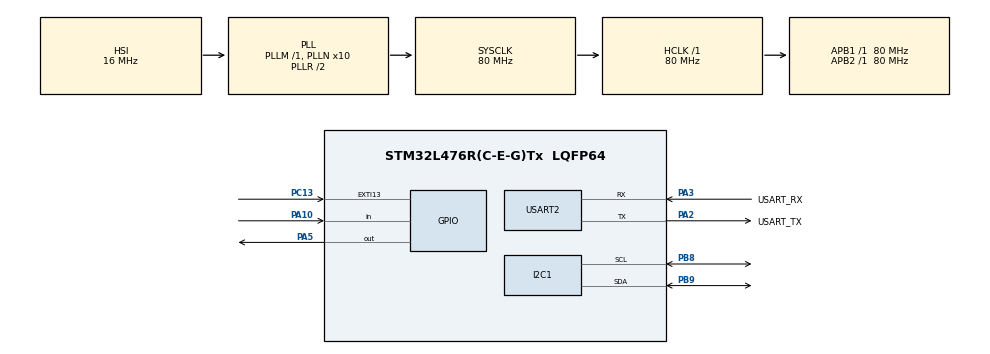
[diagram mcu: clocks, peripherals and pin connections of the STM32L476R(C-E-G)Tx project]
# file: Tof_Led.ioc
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I2C1.Timing=0x10D19CE4
Mcu.Family=STM32L4
Mcu.Name=STM32L476R(C-E-G)Tx
Mcu.Package=LQFP64
NUCLEO-L476RG.BUTTON=1
NUCLEO-L476RG.Bsp_Common_DEMO=true
NUCLEO-L476RG.LD2=true
NVIC.EXTI15_10_IRQn=true\:0\:0\:false\:false\:true\:false\:true\:true
NVIC.PriorityGroup=NVIC_PRIORITYGROUP_4
PA10.GPIO_PuPd=GPIO_PULLUP
PA10.Signal=GPIO_Input
PA13\ (JTMS-SWDIO).GPIO_Label=TMS
PA13\ (JTMS-SWDIO).Signal=SYS_JTMS-SWDIO
PA14\ (JTCK-SWCLK).GPIO_Label=TCK
PA14\ (JTCK-SWCLK).Signal=SYS_JTCK-SWCLK
PA2.GPIO_Label=USART_TX
PA2.GPIO_Mode=GPIO_MODE_AF_PP
PA2.GPIO_PuPd=GPIO_NOPULL
PA2.GPIO_Speed=GPIO_SPEED_FREQ_VERY_HIGH
PA2.Mode=Asynchronous
PA2.Signal=USART2_TX
PA3.GPIO_Label=USART_RX
PA3.GPIO_Mode=GPIO_MODE_AF_PP
PA3.GPIO_PuPd=GPIO_NOPULL
PA3.GPIO_Speed=GPIO_SPEED_FREQ_VERY_HIGH
PA3.Mode=Asynchronous
PA3.Signal=USART2_RX
PA5.Signal=GPIO_Output
PB3\ (JTDO-TRACESWO).GPIO_Label=SWO
PB3\ (JTDO-TRACESWO).Signal=SYS_JTDO-SWO
PB8.GPIO_Pu=GPIO_PULLUP
PB8.Mode=I2C
PB8.Signal=I2C1_SCL
PB9.GPIO_Pu=GPIO_PULLUP
PB9.Mode=I2C
PB9.Signal=I2C1_SDA
PC13.Signal=GPXTI13
PC14-OSC32_IN\ (PC14).Signal=RCC_OSC32_IN
PC15-OSC32_OUT\ (PC15).Signal=RCC_OSC32_OUT
PH0-OSC_IN\ (PH0).Signal=RCC_OSC_IN
PH1-OSC_OUT\ (PH1).Signal=RCC_OSC_OUT
ProjectManager.HeapSize=0x200
ProjectManager.StackSize=0x400
ProjectManager.TargetToolchain=CMake
RCC.ADCFreq_Value=64000000
RCC.AHBFreq_Value=80000000
RCC.APB1Freq_Value=80000000
RCC.APB1TimFreq_Value=80000000
RCC.APB2Freq_Value=80000000
RCC.APB2TimFreq_Value=80000000
RCC.CortexFreq_Value=80000000
RCC.HCLKFreq_Value=80000000
RCC.HSE_VALUE=8000000
RCC.HSI_VALUE=16000000
RCC.LSE_VALUE=32768
RCC.MSI_VALUE=4000000
RCC.PLLN=10
RCC.PLLSourceVirtual=RCC_PLLSOURCE_HSI
RCC.PREFETCH_ENABLE=1
RCC.SYSCLKFreq_VALUE=80000000
RCC.SYSCLKSource=RCC_SYSCLKSOURCE_PLLCLK
RCC.USBFreq_Value=64000000
RCC.VCOOutputFreq_Value=160000000
USART2.VirtualMode-Asynchronous=VM_ASYNC
VP_NUCLEO-L476RG_VS_BSP_COMMON.Mode=COMMON
board=NUCLEO-L476RG

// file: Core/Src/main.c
/* USER CODE BEGIN Header */
/**
 ******************************************************************************
 * @file           : main.c
 * @brief          : Main program body
 ******************************************************************************
 * @attention
 *
 * Copyright (c) 2026 STMicroelectronics.
 * All rights reserved.
 *
 * This software is licensed under terms that can be found in the LICENSE file
 * in the root directory of this software component.
 * If no LICENSE file comes with this software, it is provided AS-IS.
 *
 ******************************************************************************
 */
/* USER CODE END Header */
#include "main.h"
#include "i2c.h"
#include "usart.h"
#include "gpio.h"

/* USER CODE BEGIN Includes */
#include "usart.h"
#include <stdio.h>
#include <stdlib.h>
#include <sys/stat.h>
#include <string.h>

#include "apds9960.h"
#include "target.h"
/* USER CODE END Includes */

/* USER CODE BEGIN PTD */
int __io_putchar(int ch){
	HAL_UART_Transmit(&huart2, (uint8_t *)&ch, 1, HAL_MAX_DELAY);
	return ch;
}

int __io_getchar(void)
{
	uint8_t ch = 0;
	__HAL_UART_CLEAR_OREFLAG(&huart2);
	HAL_UART_Receive(&huart2, (uint8_t *)&ch, 1, HAL_MAX_DELAY);
	HAL_UART_Transmit(&huart2, (uint8_t *)&ch, 1, HAL_MAX_DELAY);
	return ch;
}
/* USER CODE END PTD */

/* USER CODE BEGIN PD */
#define APDS9960_ADDR   (0x39 << 1)
#define APDS9960_REG_ID 0x92
#define APDS9960_EXPECTED_ID 0xAB

#define REG_ENABLE       0x80
#define REG_PPULSE       0x8E
#define REG_CONTROL      0x8F
#define REG_STATUS       0x93
#define REG_PDATA        0x9C

#define FAKE_PROFILE 1   /* 1 = faux profil (test sans ToF), 0 = désactivé */
/* USER CODE END PD */

/* Button state */
#define BUTTON_RELEASED                    0U
#define BUTTON_PRESSED                     1U

__IO uint32_t BspButtonState = BUTTON_RELEASED;

/* USER CODE BEGIN PV */
static apds9960_t apds;
static target_t   target;
/* USER CODE END PV */

void SystemClock_Config(void);

int main(void)
{

	/* MCU Configuration--------------------------------------------------------*/

	/* Reset of all peripherals, Initializes the Flash interface and the Systick. */
	HAL_Init();

	/* Configure the system clock */
	SystemClock_Config();

	/* Initialize all configured peripherals */
	MX_GPIO_Init();
	MX_I2C1_Init();
	MX_USART2_UART_Init();

	/* USER CODE BEGIN 2 */
	if (!apds9960_init(&apds, &hi2c1)) {
		printf("APDS-9960 introuvable (I2C / cablage)\r\n");
		Error_Handler();
	}
	target_init(&target);
	printf("APDS-9960 OK\r\n");
	/* USER CODE END 2 */

	/* Initialize leds */
	BSP_LED_Init(LED_GREEN);

	/* Initialize USER push-button, will be used to trigger an interrupt each time it's pressed.*/
	BSP_PB_Init(BUTTON_USER, BUTTON_MODE_EXTI);

	/* USER CODE BEGIN BSP */

	/* -- Sample board code to switch on leds ---- */
	BSP_LED_On(LED_GREEN);

	/* USER CODE END BSP */

	/* Infinite loop */
	while (1)
	{

		/* USER CODE BEGIN 3 */
		static uint32_t        last_print = 0U;
		static uint8_t         pdata = 0U;
		static apds9960_rgbc_t c;

#if FAKE_PROFILE
		/* Canette simulée centrée à 45 mm : déclenche la mesure de couleur */
		static const uint16_t fake[8] = {600, 600, 60, 45, 45, 60, 600, 600};
		target_on_profile(&target, fake, 8);
#endif

		if (BspButtonState == BUTTON_PRESSED) {      /* bouton bleu : nouvelle mesure */
			BspButtonState = BUTTON_RELEASED;
			target_reset(&target);
			printf("--- reset ---\r\n");
		}

		(void)apds9960_read_proximity(&apds, &pdata);
		if (apds9960_read_rgbc(&apds, &c)) {
			target_on_color(&target, c.clear, c.red, c.green);
		}

		if ((HAL_GetTick() - last_print) >= 200U) {
			last_print = HAL_GetTick();
			printf("PDATA=%3u | C=%5u R=%5u G=%5u B=%5u | inst=%c | st=%d obstacle_color=%c\r\n",
					pdata, c.clear, c.red, c.green, c.blue,
					color_classify(c.clear, c.red, c.green),
					(int)target.state,
					target.obstacle_color ? target.obstacle_color : '-');
		}
	}
	/* USER CODE END 3 */
}

void SystemClock_Config(void)
{
	RCC_OscInitTypeDef RCC_OscInitStruct = {0};
	RCC_ClkInitTypeDef RCC_ClkInitStruct = {0};

	/** Configure the main internal regulator output voltage
	 */
	if (HAL_PWREx_ControlVoltageScaling(PWR_REGULATOR_VOLTAGE_SCALE1) != HAL_OK)
	{
		Error_Handler();
	}

	/** Initializes the RCC Oscillators according to the specified parameters
	 * in the RCC_OscInitTypeDef structure.
	 */
	RCC_OscInitStruct.OscillatorType = RCC_OSCILLATORTYPE_HSI;
	RCC_OscInitStruct.HSIState = RCC_HSI_ON;
	RCC_OscInitStruct.HSICalibrationValue = RCC_HSICALIBRATION_DEFAULT;
	RCC_OscInitStruct.PLL.PLLState = RCC_PLL_ON;
	RCC_OscInitStruct.PLL.PLLSource = RCC_PLLSOURCE_HSI;
	RCC_OscInitStruct.PLL.PLLM = 1;
	RCC_OscInitStruct.PLL.PLLN = 10;
	RCC_OscInitStruct.PLL.PLLP = RCC_PLLP_DIV7;
	RCC_OscInitStruct.PLL.PLLQ = RCC_PLLQ_DIV2;
	RCC_OscInitStruct.PLL.PLLR = RCC_PLLR_DIV2;
	if (HAL_RCC_OscConfig(&RCC_OscInitStruct) != HAL_OK)
	{
		Error_Handler();
	}

	/** Initializes the CPU, AHB and APB buses clocks
	 */
	RCC_ClkInitStruct.ClockType = RCC_CLOCKTYPE_HCLK|RCC_CLOCKTYPE_SYSCLK
			|RCC_CLOCKTYPE_PCLK1|RCC_CLOCKTYPE_PCLK2;
	RCC_ClkInitStruct.SYSCLKSource = RCC_SYSCLKSOURCE_PLLCLK;
	RCC_ClkInitStruct.AHBCLKDivider = RCC_SYSCLK_DIV1;
	RCC_ClkInitStruct.APB1CLKDivider = RCC_HCLK_DIV1;
	RCC_ClkInitStruct.APB2CLKDivider = RCC_HCLK_DIV1;

	if (HAL_RCC_ClockConfig(&RCC_ClkInitStruct, FLASH_LATENCY_4) != HAL_OK)
	{
		Error_Handler();
	}
}

/**
 * @brief EXTI line detection callbacks
 * @param GPIO_Pin: Specifies the pins connected EXTI line
 * @retval None
 */
void HAL_GPIO_EXTI_Callback(uint16_t GPIO_Pin)
{
	if(GPIO_Pin==USER_BUTTON_PIN)
	{
		BspButtonState = BUTTON_PRESSED;
	}
}

void Error_Handler(void)
{
	__disable_irq();
	while (1)
	{
	}
}
